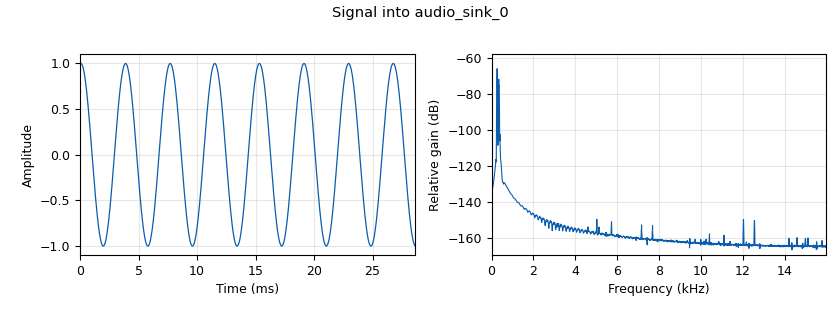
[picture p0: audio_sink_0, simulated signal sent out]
options:
  parameters:
    generate_options: qt_gui
    id: part1
    output_language: python
    title: Lab1_1
  states: {}

blocks:
- name: SampleRate
  id: variable
  parameters:
    value: '32000'
  states: {}
- name: audio_sink_0
  id: audio_sink
  parameters:
    samp_rate: SampleRate
  states: {}
- name: blocks_repeat_0
  id: blocks_repeat
  parameters:
    interp: '16000'
    type: float
  states: {}
- name: blocks_throttle_0
  id: blocks_throttle
  parameters:
    samples_per_second: SampleRate
    type: float
  states: {}
- name: blocks_vco_f_0
  id: blocks_vco_f
  parameters:
    amplitude: '1'
    samp_rate: SampleRate
    sensitivity: '6.28319'
  states: {}
- name: blocks_vector_source_x_0
  id: blocks_vector_source_x
  parameters:
    repeat: 'True'
    type: float
    vector: (262,262,294,262,349,330,262,262,294,262,392,349,262,262,523,440,392,349,330,466,466,440,349,392,349)
  states: {}

connections:
- [blocks_repeat_0, '0', blocks_vco_f_0, '0']
- [blocks_throttle_0, '0', audio_sink_0, '0']
- [blocks_vco_f_0, '0', blocks_throttle_0, '0']
- [blocks_vector_source_x_0, '0', blocks_repeat_0, '0']

metadata:
  file_format: 1
